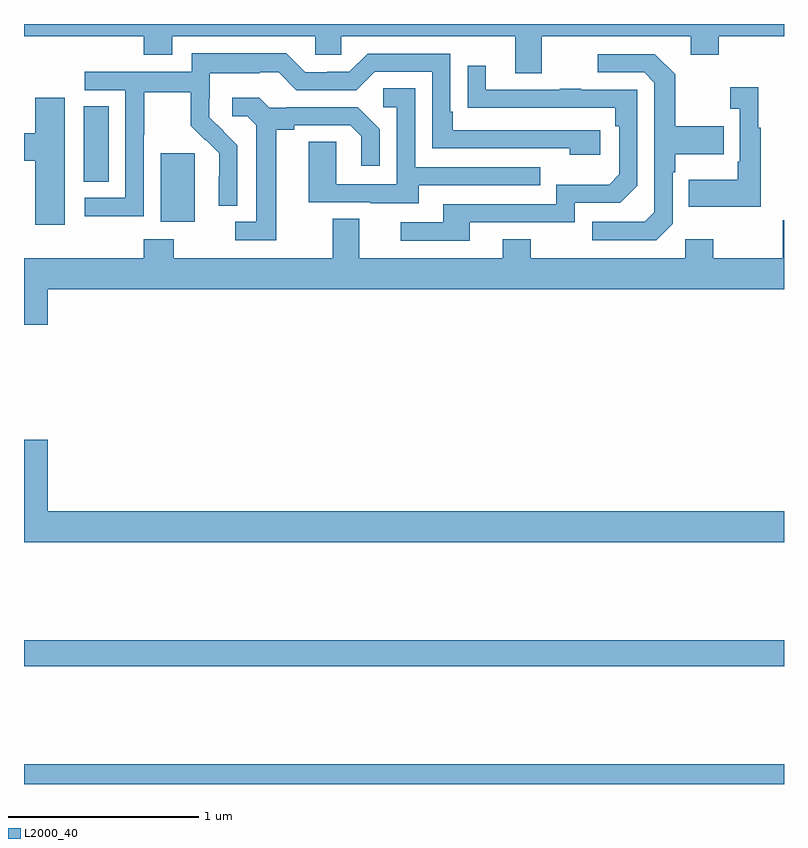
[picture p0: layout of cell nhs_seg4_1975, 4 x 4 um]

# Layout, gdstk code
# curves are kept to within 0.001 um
import gdstk
lib = gdstk.Library(unit=1e-6, precision=1e-09)
def R(c, l, rs):  # rectangles x0, y0, x1, y1
    for r in rs: c.add(gdstk.rectangle(r[:2], r[2:], *l))
def P(c, l, *ps):  # polygons
    for p in ps: c.add(gdstk.Polygon(p, *l))
L2000_40 = (2000, 40)

nhs_seg4_1975 = lib.new_cell('nhs_seg4_1975')
R(nhs_seg4_1975, L2000_40, [(213,776.9,217,777.004), (213,777.52,217,777.656), (213.719,779.858,213.898,780.219), (213.314,780.07,213.445,780.467)])
P(nhs_seg4_1975, L2000_40, [(215.725,780.836),(216.509,780.836),(216.509,780.737),(216.657,780.737),(216.657,780.836),(217,780.836),(217,780.9),(213,780.9),(213,780.836),(213.629,780.836),(213.629,780.737),(213.781,780.737),(213.781,780.836),(214.533,780.836),(214.533,780.738),(214.671,780.738),(214.671,780.836),(215.585,780.836),(215.585,780.642),(215.725,780.642)],
  [(213.63,780.316),(213.633,780.316),(213.633,780.54),(213.877,780.54),(213.877,780.365),(213.954,780.288),(213.957,780.291),(214.028,780.221),(214.028,780.098),(214.026,780.098),(214.026,779.944),(214.122,779.944),(214.122,780.262),(213.976,780.41),(213.976,780.507),(213.978,780.507),(213.978,780.641),(214.241,780.641),(214.241,780.645),(214.341,780.645),(214.434,780.552),(214.749,780.552),(214.845,780.648),(215.148,780.648),(215.148,780.246),(215.873,780.246),(215.873,780.212),(216.034,780.212),(216.034,780.342),(215.257,780.342),(215.257,780.439),(215.244,780.439),(215.244,780.744),(214.809,780.744),(214.713,780.648),(214.595,780.648),(214.595,780.645),(214.479,780.645),(214.379,780.745),(213.882,780.745),(213.882,780.648),(213.321,780.648),(213.321,780.552),(213.534,780.552),(213.534,779.985),(213.321,779.985),(213.321,779.887),(213.63,779.887)],
  [(216.414,779.85),(216.414,780.119),(216.427,780.119),(216.427,780.215),(216.683,780.215),(216.683,780.363),(216.427,780.363),(216.427,780.635),(216.321,780.741),(216.021,780.741),(216.021,780.645),(216.264,780.645),(216.318,780.591),(216.318,779.91),(216.267,779.859),(215.991,779.859),(215.991,779.763),(216.327,779.763)],
  [(215.347,779.856),(215.898,779.856),(215.898,779.958),(216.138,779.958),(216.228,780.048),(216.228,780.555),(215.933,780.555),(215.933,780.56),(215.821,780.56),(215.821,780.555),(215.431,780.555),(215.431,780.679),(215.335,780.679),(215.335,780.46),(216.112,780.459),(216.112,780.362),(216.132,780.362),(216.132,780.108),(216.079,780.055),(215.802,780.055),(215.802,779.952),(215.207,779.952),(215.207,779.856),(214.983,779.856),(214.983,779.76),(215.347,779.76)],
  [(216.877,780.355),(216.865,780.355),(216.865,780.568),(216.717,780.568),(216.717,780.455),(216.768,780.455),(216.768,780.175),(216.756,780.175),(216.756,780.079),(216.499,780.079),(216.499,779.939),(216.877,779.939)],
  [(215.077,780.051),(215.717,780.051),(215.717,780.147),(215.058,780.147),(215.058,780.563),(214.89,780.563),(214.89,780.462),(214.962,780.462),(214.962,780.057),(214.644,780.057),(214.644,780.281),(214.499,780.281),(214.499,779.961),(214.823,779.961),(214.823,779.957),(215.077,779.957)],
  [(214.327,780.344),(214.423,780.344),(214.423,780.366),(214.718,780.366),(214.775,780.309),(214.775,780.153),(214.872,780.153),(214.872,780.346),(214.756,780.462),(214.384,780.462),(214.384,780.459),(214.29,780.459),(214.238,780.511),(214.095,780.511),(214.095,780.414),(214.176,780.414),(214.223,780.367),(214.223,779.859),(214.113,779.859),(214.113,779.763),(214.327,779.763)],
  [(213.214,780.511),(213.059,780.511),(213.059,780.326),(213,780.326),(213,780.179),(213.059,780.179),(213.059,779.844),(213.214,779.844)],
  [(213.124,779.504),(217,779.504),(217,779.867),(216.994,779.867),(216.994,779.668),(216.627,779.668),(216.627,779.767),(216.48,779.767),(216.48,779.668),(215.667,779.668),(215.667,779.767),(215.519,779.767),(215.519,779.668),(214.765,779.668),(214.765,779.876),(214.625,779.876),(214.625,779.668),(213.789,779.668),(213.789,779.767),(213.629,779.767),(213.629,779.668),(213,779.668),(213,779.316),(213.124,779.316)],
  [(217,778.336),(213.124,778.336),(213.124,778.711),(213,778.711),(213,778.172),(217,778.172)])

lib.write_gds('nhs_seg4_1975.gds')
